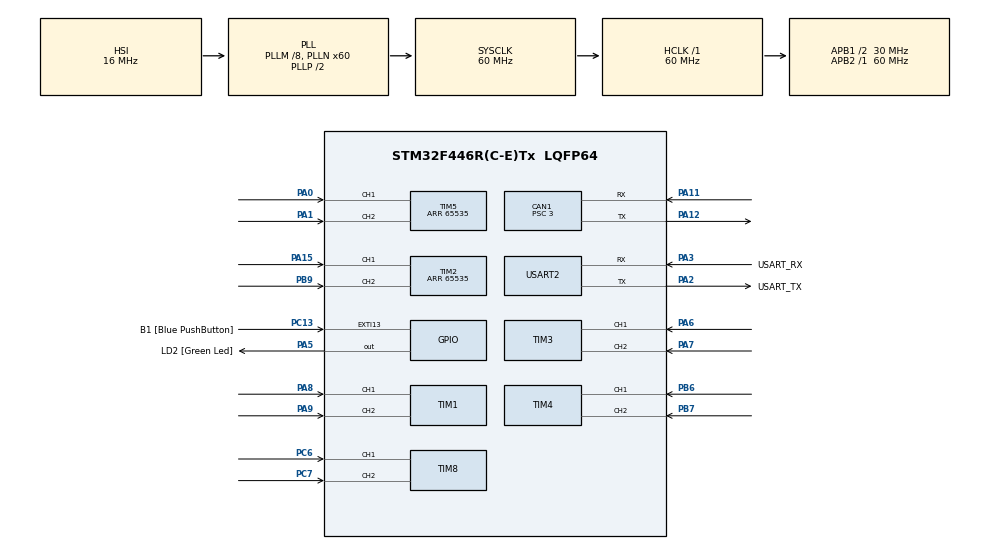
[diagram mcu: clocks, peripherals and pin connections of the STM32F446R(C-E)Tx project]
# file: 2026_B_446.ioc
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CAN1.BS1=CAN_BS1_7TQ
CAN1.BS2=CAN_BS2_2TQ
CAN1.CalculateBaudRate=1000000
CAN1.CalculateTimeBit=1000
CAN1.CalculateTimeQuantum=100.0
CAN1.NART=ENABLE
CAN1.Prescaler=3
Mcu.Family=STM32F4
Mcu.Name=STM32F446R(C-E)Tx
Mcu.Package=LQFP64
NVIC.CAN1_RX0_IRQn=true\:0\:0\:false\:false\:true\:true\:true\:true
NVIC.CAN1_RX1_IRQn=true\:0\:0\:false\:false\:true\:true\:true\:true
NVIC.PriorityGroup=NVIC_PRIORITYGROUP_0
NVIC.TIM8_BRK_TIM12_IRQn=true\:0\:0\:false\:false\:true\:true\:true\:true
PA0-WKUP.Signal=S_TIM5_CH1
PA1.Signal=S_TIM5_CH2
PA11.Mode=CAN_Activate
PA11.Signal=CAN1_RX
PA12.Mode=CAN_Activate
PA12.Signal=CAN1_TX
PA13.GPIO_Label=TMS
PA13.Mode=Serial_Wire
PA13.Signal=SYS_JTMS-SWDIO
PA14.GPIO_Label=TCK
PA14.Mode=Serial_Wire
PA14.Signal=SYS_JTCK-SWCLK
PA15.Signal=S_TIM2_CH1_ETR
PA2.GPIO_Label=USART_TX
PA2.Mode=Asynchronous
PA2.Signal=USART2_TX
PA3.GPIO_Label=USART_RX
PA3.Mode=Asynchronous
PA3.Signal=USART2_RX
PA5.GPIO_Label=LD2 [Green Led]
PA5.Signal=GPIO_Output
PA6.Signal=S_TIM3_CH1
PA7.Signal=S_TIM3_CH2
PA8.Signal=S_TIM1_CH1
PA9.Signal=S_TIM1_CH2
PB3.GPIO_Label=SWO
PB3.Signal=SYS_JTDO-SWO
PB6.Signal=S_TIM4_CH1
PB7.Signal=S_TIM4_CH2
PB9.Signal=S_TIM2_CH2
PC13.GPIO_Label=B1 [Blue PushButton]
PC13.GPIO_ModeDefaultEXTI=GPIO_MODE_IT_FALLING
PC13.Signal=GPXTI13
PC14-OSC32_IN.Mode=LSE-External-Oscillator
PC14-OSC32_IN.Signal=RCC_OSC32_IN
PC15-OSC32_OUT.Mode=LSE-External-Oscillator
PC15-OSC32_OUT.Signal=RCC_OSC32_OUT
PC6.Signal=S_TIM8_CH1
PC7.Signal=S_TIM8_CH2
PH0-OSC_IN.Mode=HSE-External-Oscillator
PH0-OSC_IN.Signal=RCC_OSC_IN
PH1-OSC_OUT.Mode=HSE-External-Oscillator
PH1-OSC_OUT.Signal=RCC_OSC_OUT
ProjectManager.HeapSize=0x200
ProjectManager.StackSize=0x400
ProjectManager.TargetToolchain=CMake
RCC.48MHZClocksFreq_Value=84000000
RCC.AHBFreq_Value=60000000
RCC.APB1CLKDivider=RCC_HCLK_DIV2
RCC.APB1Freq_Value=30000000
RCC.APB1TimFreq_Value=60000000
RCC.APB2Freq_Value=60000000
RCC.APB2TimFreq_Value=60000000
RCC.CortexFreq_Value=60000000
RCC.FLatency-AdvancedSettings=FLASH_LATENCY_1
RCC.HCLKFreq_Value=60000000
RCC.HSE_VALUE=8000000
RCC.HSI_VALUE=16000000
RCC.PLLM=8
RCC.PLLN=60
RCC.SYSCLKFreq_VALUE=60000000
RCC.SYSCLKSource=RCC_SYSCLKSOURCE_PLLCLK
RCC.USBFreq_Value=60000000
RCC.VCOOutputFreq_Value=120000000
SH.S_TIM1_CH1.0=TIM1_CH1,Encoder_Interface
SH.S_TIM1_CH2.0=TIM1_CH2,Encoder_Interface
SH.S_TIM2_CH1_ETR.0=TIM2_CH1,Encoder_Interface
SH.S_TIM2_CH2.0=TIM2_CH2,Encoder_Interface
SH.S_TIM3_CH1.0=TIM3_CH1,Encoder_Interface
SH.S_TIM3_CH2.0=TIM3_CH2,Encoder_Interface
SH.S_TIM4_CH1.0=TIM4_CH1,Encoder_Interface
SH.S_TIM4_CH2.0=TIM4_CH2,Encoder_Interface
SH.S_TIM5_CH1.0=TIM5_CH1,Encoder_Interface
SH.S_TIM5_CH2.0=TIM5_CH2,Encoder_Interface
SH.S_TIM8_CH1.0=TIM8_CH1,Encoder_Interface
SH.S_TIM8_CH2.0=TIM8_CH2,Encoder_Interface
TIM12.Period=1999
TIM12.Prescaler=299
TIM2.Period=65535
TIM5.Period=65535
USART2.VirtualMode=VM_ASYNC
VP_TIM12_VS_ClockSourceINT.Mode=Internal
board=NUCLEO-F446RE

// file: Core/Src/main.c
/* USER CODE BEGIN Header */
/**
  ******************************************************************************
  * @file           : main.c
  * @brief          : Main program body
  ******************************************************************************
  * @attention
  *
  * Copyright (c) 2026 STMicroelectronics.
  * All rights reserved.
  *
  * This software is licensed under terms that can be found in the LICENSE file
  * in the root directory of this software component.
  * If no LICENSE file comes with this software, it is provided AS-IS.
  *
  ******************************************************************************
  */
/* USER CODE END Header */
#include "main.h"

/* USER CODE BEGIN Includes */
#include <stdint.h>
#include <stdio.h>
#include <stdlib.h>
#include <math.h>

/* USER CODE END Includes */

CAN_HandleTypeDef hcan1;

TIM_HandleTypeDef htim1;
TIM_HandleTypeDef htim2;
TIM_HandleTypeDef htim3;
TIM_HandleTypeDef htim4;
TIM_HandleTypeDef htim5;
TIM_HandleTypeDef htim8;
TIM_HandleTypeDef htim12;

UART_HandleTypeDef huart2;

/* USER CODE BEGIN PV */
int16_t PV1;
int16_t PV2;
int16_t PV3;
int16_t PV4;
int16_t PV5;
int16_t PV6;

volatile int16_t cntA1;
volatile int16_t cntA2;
volatile int16_t cntA3;
volatile int16_t cntA4;
volatile int16_t cntA5;
volatile int16_t cntA6;

int16_t cntB1;
int16_t cntB2;
int16_t cntB3;
int16_t cntB4;
int16_t cntB5;
int16_t cntB6;

volatile int control_trigger = 0;

long map(long x,long in_min,long in_max,long out_min,long out_max){
    if(x < in_min) x = in_min;
    if(x > in_max) x = in_max;

    return (x - in_min) *
           (out_max - out_min) /
           (in_max - in_min)
           + out_min;
}

void CAN_TX(uint32_t recipient) {
  //送信用インスタンス等
	CAN_TxHeaderTypeDef TxHeader;
	uint32_t TxMailbox;
	uint8_t TxData[8];
    //送信メールボックスに空きがあったら送信開始
	if (0 < HAL_CAN_GetTxMailboxesFreeLevel(&hcan1)) {
        //送信用インスタンスの設定
		TxHeader.StdId = recipient;// 受取手のCANのID
		TxHeader.RTR = CAN_RTR_DATA;
		TxHeader.IDE = CAN_ID_STD;
		TxHeader.DLC = 8;//データ長を8byteに設定
		TxHeader.TransmitGlobalTime = DISABLE;
        //各データ
    TxData[0] = PV1;
		TxData[1] = PV2;
		TxData[2] = PV3;
		TxData[3] = PV4;
		TxData[4] = PV5;
		TxData[5] = PV6;
		TxData[6] = 3;
		TxData[7] = 0;
        //CANメッセージを送信
		if (HAL_CAN_AddTxMessage(&hcan1, &TxHeader, TxData, &TxMailbox) != HAL_OK) {
			Error_Handler();
		}
	}
}

/* USER CODE END PV */

void SystemClock_Config(void);
static void MX_GPIO_Init(void);
static void MX_CAN1_Init(void);
static void MX_TIM1_Init(void);
static void MX_TIM2_Init(void);
static void MX_TIM3_Init(void);
static void MX_TIM4_Init(void);
static void MX_TIM5_Init(void);
static void MX_TIM8_Init(void);
static void MX_TIM12_Init(void);
static void MX_USART2_UART_Init(void);

/* USER CODE BEGIN 0 */
void HAL_TIM_PeriodElapsedCallback(TIM_HandleTypeDef *htim) {
if (htim->Instance == TIM12) {
//エンコーダーの値を取得

  cntA1 = __HAL_TIM_GET_COUNTER(&htim1);
  cntA2 = __HAL_TIM_GET_COUNTER(&htim2);
  cntA3 = __HAL_TIM_GET_COUNTER(&htim3);
  cntA4 = __HAL_TIM_GET_COUNTER(&htim4);
  cntA5 = __HAL_TIM_GET_COUNTER(&htim5);
  cntA6 = __HAL_TIM_GET_COUNTER(&htim8);

  control_trigger = 1;

}
}

/* USER CODE END 0 */

int main(void)
{

  /* USER CODE BEGIN 1 */
  setbuf(stdout, NULL);

  /* USER CODE END 1 */

  /* MCU Configuration--------------------------------------------------------*/

  /* Reset of all peripherals, Initializes the Flash interface and the Systick. */
  HAL_Init();

  /* Configure the system clock */
  SystemClock_Config();

  /* Initialize all configured peripherals */
  MX_GPIO_Init();
  MX_CAN1_Init();
  MX_TIM1_Init();
  MX_TIM2_Init();
  MX_TIM3_Init();
  MX_TIM4_Init();
  MX_TIM5_Init();
  MX_TIM8_Init();
  MX_TIM12_Init();
  MX_USART2_UART_Init();
  /* USER CODE BEGIN 2 */
HAL_TIM_Base_Start_IT(&htim12);

  HAL_TIM_Encoder_Start(&htim1, TIM_CHANNEL_ALL);
  HAL_TIM_Encoder_Start(&htim2, TIM_CHANNEL_ALL);
  HAL_TIM_Encoder_Start(&htim3, TIM_CHANNEL_ALL);
  HAL_TIM_Encoder_Start(&htim4, TIM_CHANNEL_ALL);
  HAL_TIM_Encoder_Start(&htim5, TIM_CHANNEL_ALL);
  HAL_TIM_Encoder_Start(&htim8, TIM_CHANNEL_ALL);

  HAL_CAN_Start(&hcan1);
  HAL_CAN_ActivateNotification(&hcan1, CAN_IT_RX_FIFO0_MSG_PENDING);

  int max_pwm = 255;

  /* USER CODE END 2 */

  /* Infinite loop */
  /* USER CODE BEGIN WHILE */
  while (1)
  {
    if (control_trigger == 1) {
    control_trigger = 0;

    PV1 = cntA1 - cntB1;
    PV2 = cntA2 - cntB2;
    PV3 = cntA3 - cntB3;
    PV4 = cntA4 - cntB4;
    PV5 = cntA5 - cntB5;
    PV6 = cntA6 - cntB6;

    cntB1 = cntA1;
    cntB2 = cntA2;
    cntB3 = cntA3;
    cntB4 = cntA4;
    cntB5 = cntA5;
    cntB6 = cntA6;

    PV1 = map(PV1, -155, 155, -max_pwm, max_pwm);
    PV2 = map(PV2, -155, 155, -max_pwm, max_pwm);
    PV3 = map(PV3, -155, 155, -max_pwm, max_pwm);
    PV4 = map(PV4, -155, 155, -max_pwm, max_pwm);
    PV5 = map(PV5, -1580, 1580, -max_pwm, max_pwm);
    PV6 = map(PV6, -1580, 1580, -max_pwm, max_pwm);

    if(PV1 < 0) {
      PV1 = -PV1;
    }
    if(PV2 < 0) {
      PV2 = -PV2;
    }
    if(PV3 < 0) {
      PV3 = -PV3;
    }
    if(PV4 < 0) {
      PV4 = -PV4;
    }
    if(PV5 < 0) {
      PV5 = -PV5;
    }
    if(PV6 < 0) {
      PV6 = -PV6;
    }
    CAN_TX(0x001); // 送信先のCAN IDを指定
  }

    //  uint32_t time = 0;
    //  if (HAL_GetTick() - time >= 100) // 100msごとにCAN送信
    //  {
    //   // printf("cntA1: %d, cntA2: %d, cntA3: %d, cntA4: %d, cntA5: %d, cntA6: %d\n", cntA1, cntA2, cntA3, cntA4, cntA5, cntA6);
    //   printf(" PV5: %d, PV6: %d\n",  PV5, PV6);
    //   time = HAL_GetTick();
    //  }

    /* USER CODE END WHILE */

  }
}

void SystemClock_Config(void)
{
  RCC_OscInitTypeDef RCC_OscInitStruct = {0};
  RCC_ClkInitTypeDef RCC_ClkInitStruct = {0};

  /** Configure the main internal regulator output voltage
  */
  __HAL_RCC_PWR_CLK_ENABLE();
  __HAL_PWR_VOLTAGESCALING_CONFIG(PWR_REGULATOR_VOLTAGE_SCALE3);

  /** Initializes the RCC Oscillators according to the specified parameters
  * in the RCC_OscInitTypeDef structure.
  */
  RCC_OscInitStruct.OscillatorType = RCC_OSCILLATORTYPE_HSI;
  RCC_OscInitStruct.HSIState = RCC_HSI_ON;
  RCC_OscInitStruct.HSICalibrationValue = RCC_HSICALIBRATION_DEFAULT;
  RCC_OscInitStruct.PLL.PLLState = RCC_PLL_ON;
  RCC_OscInitStruct.PLL.PLLSource = RCC_PLLSOURCE_HSI;
  RCC_OscInitStruct.PLL.PLLM = 8;
  RCC_OscInitStruct.PLL.PLLN = 60;
  RCC_OscInitStruct.PLL.PLLP = RCC_PLLP_DIV2;
  RCC_OscInitStruct.PLL.PLLQ = 2;
  RCC_OscInitStruct.PLL.PLLR = 2;
  if (HAL_RCC_OscConfig(&RCC_OscInitStruct) != HAL_OK)
  {
    Error_Handler();
  }

  /** Initializes the CPU, AHB and APB buses clocks
  */
  RCC_ClkInitStruct.ClockType = RCC_CLOCKTYPE_HCLK|RCC_CLOCKTYPE_SYSCLK
                              |RCC_CLOCKTYPE_PCLK1|RCC_CLOCKTYPE_PCLK2;
  RCC_ClkInitStruct.SYSCLKSource = RCC_SYSCLKSOURCE_PLLCLK;
  RCC_ClkInitStruct.AHBCLKDivider = RCC_SYSCLK_DIV1;
  RCC_ClkInitStruct.APB1CLKDivider = RCC_HCLK_DIV2;
  RCC_ClkInitStruct.APB2CLKDivider = RCC_HCLK_DIV1;

  if (HAL_RCC_ClockConfig(&RCC_ClkInitStruct, FLASH_LATENCY_1) != HAL_OK)
  {
    Error_Handler();
  }
}

static void MX_CAN1_Init(void)
{

  hcan1.Instance = CAN1;
  hcan1.Init.Prescaler = 3;
  hcan1.Init.Mode = CAN_MODE_NORMAL;
  hcan1.Init.SyncJumpWidth = CAN_SJW_1TQ;
  hcan1.Init.TimeSeg1 = CAN_BS1_7TQ;
  hcan1.Init.TimeSeg2 = CAN_BS2_2TQ;
  hcan1.Init.TimeTriggeredMode = DISABLE;
  hcan1.Init.AutoBusOff = DISABLE;
  hcan1.Init.AutoWakeUp = DISABLE;
  hcan1.Init.AutoRetransmission = ENABLE;
  hcan1.Init.ReceiveFifoLocked = DISABLE;
  hcan1.Init.TransmitFifoPriority = DISABLE;
  if (HAL_CAN_Init(&hcan1) != HAL_OK)
  {
    Error_Handler();
  }
  /* USER CODE BEGIN CAN1_Init 2 */
  CAN_FilterTypeDef filter;
  filter.FilterIdHigh         = 0x001 << 5;                  // フィルターID1
  filter.FilterIdLow          = 0x002 << 5;                  // フィルターID2
  filter.FilterMaskIdHigh     = 0x003 << 5;                  // フィルターID3
  filter.FilterMaskIdLow      = 0x004 << 5;    // フィルターID4
  filter.FilterScale          = CAN_FILTERSCALE_16BIT; // 16モード
  filter.FilterFIFOAssignment = CAN_FILTER_FIFO0;      // FIFO0へ格納
  filter.FilterBank           = 0;
  filter.FilterMode           = CAN_FILTERMODE_IDLIST; // IDリストモード
  filter.SlaveStartFilterBank = 14;
  filter.FilterActivation     = ENABLE;

  HAL_CAN_ConfigFilter(&hcan1, &filter);

  /* USER CODE END CAN1_Init 2 */

}

static void MX_TIM1_Init(void)
{

  TIM_Encoder_InitTypeDef sConfig = {0};
  TIM_MasterConfigTypeDef sMasterConfig = {0};

  htim1.Instance = TIM1;
  htim1.Init.Prescaler = 0;
  htim1.Init.CounterMode = TIM_COUNTERMODE_UP;
  htim1.Init.Period = 65535;
  htim1.Init.ClockDivision = TIM_CLOCKDIVISION_DIV1;
  htim1.Init.RepetitionCounter = 0;
  htim1.Init.AutoReloadPreload = TIM_AUTORELOAD_PRELOAD_DISABLE;
  sConfig.EncoderMode = TIM_ENCODERMODE_TI1;
  sConfig.IC1Polarity = TIM_ICPOLARITY_RISING;
  sConfig.IC1Selection = TIM_ICSELECTION_DIRECTTI;
  sConfig.IC1Prescaler = TIM_ICPSC_DIV1;
  sConfig.IC1Filter = 0;
  sConfig.IC2Polarity = TIM_ICPOLARITY_RISING;
  sConfig.IC2Selection = TIM_ICSELECTION_DIRECTTI;
  sConfig.IC2Prescaler = TIM_ICPSC_DIV1;
  sConfig.IC2Filter = 0;
  if (HAL_TIM_Encoder_Init(&htim1, &sConfig) != HAL_OK)
  {
    Error_Handler();
  }
  sMasterConfig.MasterOutputTrigger = TIM_TRGO_RESET;
  sMasterConfig.MasterSlaveMode = TIM_MASTERSLAVEMODE_DISABLE;
  if (HAL_TIMEx_MasterConfigSynchronization(&htim1, &sMasterConfig) != HAL_OK)
  {
    Error_Handler();
  }

}

static void MX_TIM2_Init(void)
{

  TIM_Encoder_InitTypeDef sConfig = {0};
  TIM_MasterConfigTypeDef sMasterConfig = {0};

  htim2.Instance = TIM2;
  htim2.Init.Prescaler = 0;
  htim2.Init.CounterMode = TIM_COUNTERMODE_UP;
  htim2.Init.Period = 65535;
  htim2.Init.ClockDivision = TIM_CLOCKDIVISION_DIV1;
  htim2.Init.AutoReloadPreload = TIM_AUTORELOAD_PRELOAD_DISABLE;
  sConfig.EncoderMode = TIM_ENCODERMODE_TI1;
  sConfig.IC1Polarity = TIM_ICPOLARITY_RISING;
  sConfig.IC1Selection = TIM_ICSELECTION_DIRECTTI;
  sConfig.IC1Prescaler = TIM_ICPSC_DIV1;
  sConfig.IC1Filter = 0;
  sConfig.IC2Polarity = TIM_ICPOLARITY_RISING;
  sConfig.IC2Selection = TIM_ICSELECTION_DIRECTTI;
  sConfig.IC2Prescaler = TIM_ICPSC_DIV1;
  sConfig.IC2Filter = 0;
  if (HAL_TIM_Encoder_Init(&htim2, &sConfig) != HAL_OK)
  {
    Error_Handler();
  }
  sMasterConfig.MasterOutputTrigger = TIM_TRGO_RESET;
  sMasterConfig.MasterSlaveMode = TIM_MASTERSLAVEMODE_DISABLE;
  if (HAL_TIMEx_MasterConfigSynchronization(&htim2, &sMasterConfig) != HAL_OK)
  {
    Error_Handler();
  }

}

static void MX_TIM3_Init(void)
{

  TIM_Encoder_InitTypeDef sConfig = {0};
  TIM_MasterConfigTypeDef sMasterConfig = {0};

  htim3.Instance = TIM3;
  htim3.Init.Prescaler = 0;
  htim3.Init.CounterMode = TIM_COUNTERMODE_UP;
  htim3.Init.Period = 65535;
  htim3.Init.ClockDivision = TIM_CLOCKDIVISION_DIV1;
  htim3.Init.AutoReloadPreload = TIM_AUTORELOAD_PRELOAD_DISABLE;
  sConfig.EncoderMode = TIM_ENCODERMODE_TI1;
  sConfig.IC1Polarity = TIM_ICPOLARITY_RISING;
  sConfig.IC1Selection = TIM_ICSELECTION_DIRECTTI;
  sConfig.IC1Prescaler = TIM_ICPSC_DIV1;
  sConfig.IC1Filter = 0;
  sConfig.IC2Polarity = TIM_ICPOLARITY_RISING;
  sConfig.IC2Selection = TIM_ICSELECTION_DIRECTTI;
  sConfig.IC2Prescaler = TIM_ICPSC_DIV1;
  sConfig.IC2Filter = 0;
  if (HAL_TIM_Encoder_Init(&htim3, &sConfig) != HAL_OK)
  {
    Error_Handler();
  }
  sMasterConfig.MasterOutputTrigger = TIM_TRGO_RESET;
  sMasterConfig.MasterSlaveMode = TIM_MASTERSLAVEMODE_DISABLE;
  if (HAL_TIMEx_MasterConfigSynchronization(&htim3, &sMasterConfig) != HAL_OK)
  {
    Error_Handler();
  }

}

static void MX_TIM4_Init(void)
{

  TIM_Encoder_InitTypeDef sConfig = {0};
  TIM_MasterConfigTypeDef sMasterConfig = {0};

  htim4.Instance = TIM4;
  htim4.Init.Prescaler = 0;
  htim4.Init.CounterMode = TIM_COUNTERMODE_UP;
  htim4.Init.Period = 65535;
  htim4.Init.ClockDivision = TIM_CLOCKDIVISION_DIV1;
  htim4.Init.AutoReloadPreload = TIM_AUTORELOAD_PRELOAD_DISABLE;
  sConfig.EncoderMode = TIM_ENCODERMODE_TI1;
  sConfig.IC1Polarity = TIM_ICPOLARITY_RISING;
  sConfig.IC1Selection = TIM_ICSELECTION_DIRECTTI;
  sConfig.IC1Prescaler = TIM_ICPSC_DIV1;
  sConfig.IC1Filter = 0;
  sConfig.IC2Polarity = TIM_ICPOLARITY_RISING;
  sConfig.IC2Selection = TIM_ICSELECTION_DIRECTTI;
  sConfig.IC2Prescaler = TIM_ICPSC_DIV1;
  sConfig.IC2Filter = 0;
  if (HAL_TIM_Encoder_Init(&htim4, &sConfig) != HAL_OK)
  {
    Error_Handler();
  }
  sMasterConfig.MasterOutputTrigger = TIM_TRGO_RESET;
  sMasterConfig.MasterSlaveMode = TIM_MASTERSLAVEMODE_DISABLE;
  if (HAL_TIMEx_MasterConfigSynchronization(&htim4, &sMasterConfig) != HAL_OK)
  {
    Error_Handler();
  }

}

static void MX_TIM5_Init(void)
{

  TIM_Encoder_InitTypeDef sConfig = {0};
  TIM_MasterConfigTypeDef sMasterConfig = {0};

  htim5.Instance = TIM5;
  htim5.Init.Prescaler = 0;
  htim5.Init.CounterMode = TIM_COUNTERMODE_UP;
  htim5.Init.Period = 65535;
  htim5.Init.ClockDivision = TIM_CLOCKDIVISION_DIV1;
  htim5.Init.AutoReloadPreload = TIM_AUTORELOAD_PRELOAD_DISABLE;
  sConfig.EncoderMode = TIM_ENCODERMODE_TI1;
  sConfig.IC1Polarity = TIM_ICPOLARITY_RISING;
  sConfig.IC1Selection = TIM_ICSELECTION_DIRECTTI;
  sConfig.IC1Prescaler = TIM_ICPSC_DIV1;
  sConfig.IC1Filter = 0;
  sConfig.IC2Polarity = TIM_ICPOLARITY_RISING;
  sConfig.IC2Selection = TIM_ICSELECTION_DIRECTTI;
  sConfig.IC2Prescaler = TIM_ICPSC_DIV1;
  sConfig.IC2Filter = 0;
  if (HAL_TIM_Encoder_Init(&htim5, &sConfig) != HAL_OK)
  {
    Error_Handler();
  }
  sMasterConfig.MasterOutputTrigger = TIM_TRGO_RESET;
  sMasterConfig.MasterSlaveMode = TIM_MASTERSLAVEMODE_DISABLE;
  if (HAL_TIMEx_MasterConfigSynchronization(&htim5, &sMasterConfig) != HAL_OK)
  {
    Error_Handler();
  }

}

static void MX_TIM8_Init(void)
{

  TIM_Encoder_InitTypeDef sConfig = {0};
  TIM_MasterConfigTypeDef sMasterConfig = {0};

  htim8.Instance = TIM8;
  htim8.Init.Prescaler = 0;
  htim8.Init.CounterMode = TIM_COUNTERMODE_UP;
  htim8.Init.Period = 65535;
  htim8.Init.ClockDivision = TIM_CLOCKDIVISION_DIV1;
  htim8.Init.RepetitionCounter = 0;
  htim8.Init.AutoReloadPreload = TIM_AUTORELOAD_PRELOAD_DISABLE;
  sConfig.EncoderMode = TIM_ENCODERMODE_TI1;
  sConfig.IC1Polarity = TIM_ICPOLARITY_RISING;
  sConfig.IC1Selection = TIM_ICSELECTION_DIRECTTI;
  sConfig.IC1Prescaler = TIM_ICPSC_DIV1;
  sConfig.IC1Filter = 0;
  sConfig.IC2Polarity = TIM_ICPOLARITY_RISING;
  sConfig.IC2Selection = TIM_ICSELECTION_DIRECTTI;
  sConfig.IC2Prescaler = TIM_ICPSC_DIV1;
  sConfig.IC2Filter = 0;
  if (HAL_TIM_Encoder_Init(&htim8, &sConfig) != HAL_OK)
  {
    Error_Handler();
  }
  sMasterConfig.MasterOutputTrigger = TIM_TRGO_RESET;
  sMasterConfig.MasterSlaveMode = TIM_MASTERSLAVEMODE_DISABLE;
  if (HAL_TIMEx_MasterConfigSynchronization(&htim8, &sMasterConfig) != HAL_OK)
  {
    Error_Handler();
  }

}

static void MX_TIM12_Init(void)
{

  TIM_ClockConfigTypeDef sClockSourceConfig = {0};

  htim12.Instance = TIM12;
  htim12.Init.Prescaler = 299;
  htim12.Init.CounterMode = TIM_COUNTERMODE_UP;
  htim12.Init.Period = 1999;
  htim12.Init.ClockDivision = TIM_CLOCKDIVISION_DIV1;
  htim12.Init.AutoReloadPreload = TIM_AUTORELOAD_PRELOAD_DISABLE;
  if (HAL_TIM_Base_Init(&htim12) != HAL_OK)
  {
    Error_Handler();
  }
  sClockSourceConfig.ClockSource = TIM_CLOCKSOURCE_INTERNAL;
  if (HAL_TIM_ConfigClockSource(&htim12, &sClockSourceConfig) != HAL_OK)
  {
    Error_Handler();
  }

}

static void MX_USART2_UART_Init(void)
{

  huart2.Instance = USART2;
  huart2.Init.BaudRate = 115200;
  huart2.Init.WordLength = UART_WORDLENGTH_8B;
  huart2.Init.StopBits = UART_STOPBITS_1;
  huart2.Init.Parity = UART_PARITY_NONE;
  huart2.Init.Mode = UART_MODE_TX_RX;
  huart2.Init.HwFlowCtl = UART_HWCONTROL_NONE;
  huart2.Init.OverSampling = UART_OVERSAMPLING_16;
  if (HAL_UART_Init(&huart2) != HAL_OK)
  {
    Error_Handler();
  }

}

static void MX_GPIO_Init(void)
{
  GPIO_InitTypeDef GPIO_InitStruct = {0};

  /* GPIO Ports Clock Enable */
  __HAL_RCC_GPIOC_CLK_ENABLE();
  __HAL_RCC_GPIOH_CLK_ENABLE();
  __HAL_RCC_GPIOA_CLK_ENABLE();
  __HAL_RCC_GPIOB_CLK_ENABLE();

  /*Configure GPIO pin Output Level */
  HAL_GPIO_WritePin(LD2_GPIO_Port, LD2_Pin, GPIO_PIN_RESET);

  /*Configure GPIO pin : B1_Pin */
  GPIO_InitStruct.Pin = B1_Pin;
  GPIO_InitStruct.Mode = GPIO_MODE_IT_FALLING;
  GPIO_InitStruct.Pull = GPIO_NOPULL;
  HAL_GPIO_Init(B1_GPIO_Port, &GPIO_InitStruct);

  /*Configure GPIO pin : LD2_Pin */
  GPIO_InitStruct.Pin = LD2_Pin;
  GPIO_InitStruct.Mode = GPIO_MODE_OUTPUT_PP;
  GPIO_InitStruct.Pull = GPIO_NOPULL;
  GPIO_InitStruct.Speed = GPIO_SPEED_FREQ_LOW;
  HAL_GPIO_Init(LD2_GPIO_Port, &GPIO_InitStruct);

}

/* USER CODE BEGIN 4 */
int _write(int file, char *ptr, int len)
{
  HAL_UART_Transmit(&huart2,(uint8_t *)ptr,len,10);
  return len;
}

/* USER CODE END 4 */

void Error_Handler(void)
{
  __disable_irq();
  while (1)
  {
  }
}
